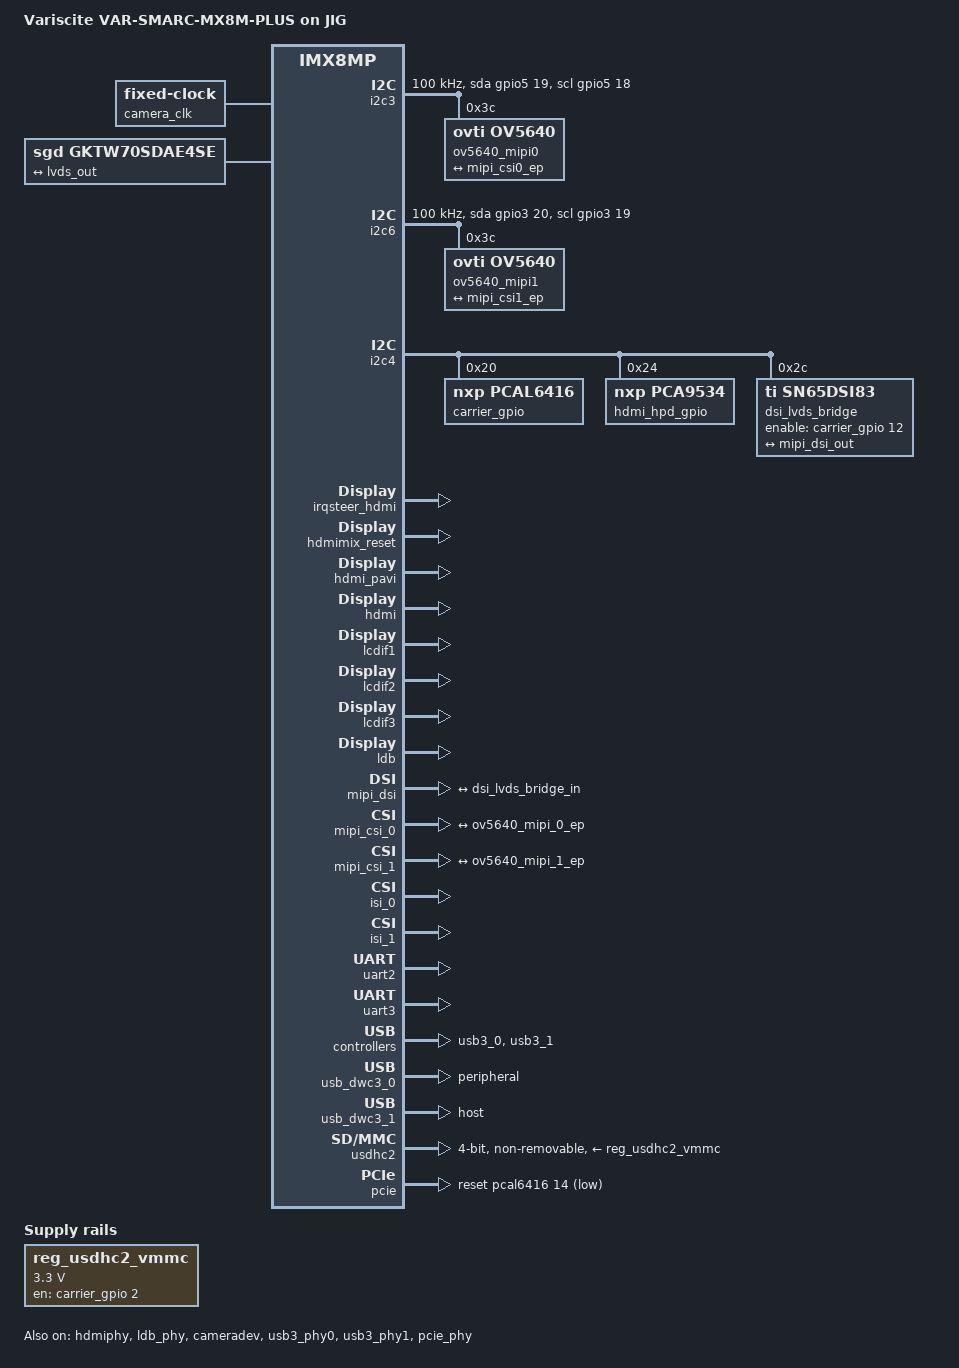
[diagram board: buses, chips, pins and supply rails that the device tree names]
// SPDX-License-Identifier: (GPL-2.0+ OR MIT)
/*
 * Copyright 2019 NXP
 * Copyright 2026 Variscite Ltd.
 */

#include "imx8mp-var-smarc.dtsi"

/ {
	model = "Variscite VAR-SMARC-MX8M-PLUS on JIG";

	chosen {
		stdout-path = &uart2;
	};

	camera_clk: camera-clk {
		compatible = "fixed-clock";
		#clock-cells = <0>;
		clock-frequency = <24000000>;
	};

	reg_usdhc2_vmmc: regulator-usdhc2-vmmc {
		compatible = "regulator-fixed";
		regulator-name = "VSD_3V3";
		regulator-min-microvolt = <3300000>;
		regulator-max-microvolt = <3300000>;
		gpio = <&carrier_gpio 2 GPIO_ACTIVE_HIGH>;
		enable-active-high;
		regulator-always-on;
		regulator-boot-on;
	};

	panel {
		compatible = "sgd,gktw70sdae4se", "panel-lvds";
		width-mm = <153>;
		height-mm = <87>;
		label = "gktw70sdae4se";
		data-mapping = "vesa-24";
		status = "okay";

		panel-timing {
			clock-frequency = <66000000>;
			hactive = <1600>;
			vactive = <480>;
			hback-porch = <80>;
			hfront-porch = <80>;
			vback-porch = <29>;
			vfront-porch = <13>;
			hsync-len = <96>;
			vsync-len = <3>;
			hsync-active = <0>;
			vsync-active = <0>;
			de-active = <1>;
		};

		port {
			panel_in: endpoint {
				remote-endpoint = <&lvds_out>;
			};
		};
	};

	display-subsystem {
		ports = <&lcdif2_disp>,
			<&lcdif1_disp>,
			<&lcdif3_disp>;
	};
};

&iomuxc {
	pinctrl-names = "default";
	pinctrl-0 = <&pinctrl_lvds_rgb_gpio>;

	pinctrl_lvds_rgb_gpio: lvdsrgbgpiogrp {
		fsl,pins = <
			MX8MP_IOMUXC_GPIO1_IO05__GPIO1_IO05				0x116
			MX8MP_IOMUXC_GPIO1_IO14__GPIO1_IO14				0x116
			MX8MP_IOMUXC_GPIO1_IO03__GPIO1_IO03				0x116
			MX8MP_IOMUXC_GPIO1_IO00__GPIO1_IO00				0x116
			MX8MP_IOMUXC_SAI1_RXD0__GPIO4_IO02				0x116
			MX8MP_IOMUXC_GPIO1_IO01__GPIO1_IO01				0x116
			MX8MP_IOMUXC_GPIO1_IO07__GPIO1_IO07				0x116
			MX8MP_IOMUXC_GPIO1_IO06__GPIO1_IO06				0x116
			MX8MP_IOMUXC_SD1_DATA7__GPIO2_IO09				0x116
			MX8MP_IOMUXC_UART1_TXD__GPIO5_IO23				0x116
			MX8MP_IOMUXC_GPIO1_IO11__GPIO1_IO11				0x116
			MX8MP_IOMUXC_SAI2_RXFS__GPIO4_IO21				0x116
			MX8MP_IOMUXC_SD1_DATA6__GPIO2_IO08				0x116
			MX8MP_IOMUXC_UART1_RXD__GPIO5_IO22				0x116
			MX8MP_IOMUXC_UART3_RXD__GPIO5_IO26				0x116
			MX8MP_IOMUXC_UART3_TXD__GPIO5_IO27				0x116
			MX8MP_IOMUXC_SAI1_TXD6__GPIO4_IO18				0x116
			MX8MP_IOMUXC_SAI1_RXFS__GPIO4_IO00				0x116
			MX8MP_IOMUXC_UART4_TXD__GPIO5_IO29				0x116
			MX8MP_IOMUXC_UART4_RXD__GPIO5_IO28				0x116
		>;
	};

	pinctrl_i2c3: i2c3grp {
		fsl,pins = <
			MX8MP_IOMUXC_I2C3_SCL__I2C3_SCL					0x400001c2
			MX8MP_IOMUXC_I2C3_SDA__I2C3_SDA					0x400001c2
		>;
	};

	pinctrl_i2c3_gpio: i2c3gpiogrp {
		fsl,pins = <
			MX8MP_IOMUXC_I2C3_SCL__GPIO5_IO18				0x1c2
			MX8MP_IOMUXC_I2C3_SDA__GPIO5_IO19				0x1c2
		>;
	};

	pinctrl_i2c6: i2c6grp {
		fsl,pins = <
			MX8MP_IOMUXC_SAI5_RXFS__I2C6_SCL				0x400001c2
			MX8MP_IOMUXC_SAI5_RXC__I2C6_SDA					0x400001c2
		>;
	};

	pinctrl_i2c6_gpio: i2c6gpiogrp {
		fsl,pins = <
			MX8MP_IOMUXC_SAI5_RXFS__GPIO3_IO19				0x1c2
			MX8MP_IOMUXC_SAI5_RXC__GPIO3_IO20				0x1c2
		>;
	};

	pinctrl_uart2: uart2grp {
		fsl,pins = <
			MX8MP_IOMUXC_UART2_RXD__UART2_DCE_RX				0x40
			MX8MP_IOMUXC_UART2_TXD__UART2_DCE_TX				0x40
		>;
	};

	pinctrl_usdhc2: usdhc2grp {
		fsl,pins = <
			MX8MP_IOMUXC_SD2_CLK__USDHC2_CLK				0x190
			MX8MP_IOMUXC_SD2_CMD__USDHC2_CMD				0x1d0
			MX8MP_IOMUXC_SD2_DATA0__USDHC2_DATA0				0x1d0
			MX8MP_IOMUXC_SD2_DATA1__USDHC2_DATA1				0x1d0
			MX8MP_IOMUXC_SD2_DATA2__USDHC2_DATA2				0x1d0
			MX8MP_IOMUXC_SD2_DATA3__USDHC2_DATA3				0x1d0
		>;
	};

	pinctrl_usdhc2_100mhz: usdhc2grp-100mhz {
		fsl,pins = <
			MX8MP_IOMUXC_SD2_CLK__USDHC2_CLK				0x194
			MX8MP_IOMUXC_SD2_CMD__USDHC2_CMD				0x1d4
			MX8MP_IOMUXC_SD2_DATA0__USDHC2_DATA0				0x1d4
			MX8MP_IOMUXC_SD2_DATA1__USDHC2_DATA1				0x1d4
			MX8MP_IOMUXC_SD2_DATA2__USDHC2_DATA2				0x1d4
			MX8MP_IOMUXC_SD2_DATA3__USDHC2_DATA3				0x1d4
		>;
	};

	pinctrl_usdhc2_200mhz: usdhc2grp-200mhz {
		fsl,pins = <
			MX8MP_IOMUXC_SD2_CLK__USDHC2_CLK				0x196
			MX8MP_IOMUXC_SD2_CMD__USDHC2_CMD				0x1d6
			MX8MP_IOMUXC_SD2_DATA0__USDHC2_DATA0				0x1d6
			MX8MP_IOMUXC_SD2_DATA1__USDHC2_DATA1				0x1d6
			MX8MP_IOMUXC_SD2_DATA2__USDHC2_DATA2				0x1d6
			MX8MP_IOMUXC_SD2_DATA3__USDHC2_DATA3				0x1d6
		>;
	};
};

&i2c3 {
	clock-frequency = <100000>;
	pinctrl-names = "default", "gpio";
	pinctrl-0 = <&pinctrl_i2c3>;
	pinctrl-1 = <&pinctrl_i2c3_gpio>;
	scl-gpios = <&gpio5 18 GPIO_ACTIVE_HIGH>;
	sda-gpios = <&gpio5 19 GPIO_ACTIVE_HIGH>;
	status = "okay";

	ov5640_mipi0: ov5640_mipi@3c {
		compatible = "ovti,ov5640";
		reg = <0x3c>;
		clocks = <&camera_clk>;
		clock-names = "xclk";
		csi_id = <0>;
		mclk = <24000000>;
		mclk_source = <0>;
		mipi_csi;
		status = "okay";

		port {
			ov5640_mipi_0_ep: endpoint {
				remote-endpoint = <&mipi_csi0_ep>;
				data-lanes = <1 2>;
				clock-lanes = <0>;
			};
		};
	};
};

&i2c6 {
	clock-frequency = <100000>;
	pinctrl-names = "default", "gpio";
	pinctrl-0 = <&pinctrl_i2c6>;
	pinctrl-1 = <&pinctrl_i2c6_gpio>;
	scl-gpios = <&gpio3 19 GPIO_ACTIVE_HIGH>;
	sda-gpios = <&gpio3 20 GPIO_ACTIVE_HIGH>;
	status = "okay";

	ov5640_mipi1: ov5640_mipi@3c {
		compatible = "ovti,ov5640";
		reg = <0x3c>;
		clocks = <&camera_clk>;
		clock-names = "xclk";
		csi_id = <1>;
		mclk = <24000000>;
		mclk_source = <0>;
		mipi_csi;
		status = "okay";

		port {
			ov5640_mipi_1_ep: endpoint {
				remote-endpoint = <&mipi_csi1_ep>;
				data-lanes = <1 2>;
				clock-lanes = <0>;
			};
		};
	};
};

&i2c4 {
	carrier_gpio: gpio@20 {
		compatible = "nxp,pcal6416";
		reg = <0x20>;
		gpio-controller;
		#gpio-cells = <2>;
		gpio-line-names =
			"ETH_TEST_SEL",
			"AUD_TEST_SEL",
			"SD_PWR_EN",
			"USB_HUB1_RSTN",
			"USB_HUB2_RSTN",
			"USB_TEST1_SEL",
			"USB_TEST2_SEL",
			"BTPCM_TEST_SEL",
			"HDMI_2RGB_EN",
			"RGB_LTCH_OE",
			"LVDS_SW2_SEL",
			"LVDS_SW1_SEL",
			"DSI_2LVDS_EN",
			"DSI_SW_SEL",
			"PMIC_STBY_REQ_B",
			"CARRIER_PWR_ON";
		status = "okay";
	};

	hdmi_hpd_gpio: gpio@24 {
		compatible = "nxp,pca9534";
		reg = <0x24>;
		gpio-controller;
		#gpio-cells = <2>;
		gpio-line-names = "", "", "", "", "", "", "", "HDMI_HPD";
		status = "okay";
	};

	dsi_lvds_bridge: sn65dsi84@2c {
		compatible = "ti,sn65dsi83";
		reg = <0x2c>;
		ti,dsi-lanes = <4>;
		ti,lvds-format = <1>;
		ti,lvds-bpp = <24>;
		ti,lvds-channels = <1>;
		ti,width-mm = <154>;
		ti,height-mm = <87>;
		enable-gpios = <&carrier_gpio 12 GPIO_ACTIVE_HIGH>;
		status = "okay";

		display-timings {
			lvds {
				clock-frequency = <33000000>;
				hactive = <800>;
				vactive = <480>;
				hback-porch = <40>;
				hfront-porch = <40>;
				vback-porch = <29>;
				vfront-porch = <13>;
				hsync-len = <48>;
				vsync-len = <3>;
				hsync-active = <0>;
				vsync-active = <0>;
				de-active = <1>;
				pixelclk-active = <0>;
			};
		};

		port {
			dsi_lvds_bridge_in: endpoint {
				remote-endpoint = <&mipi_dsi_out>;
			};
		};
	};
};

&irqsteer_hdmi {
	status = "okay";
};

&hdmimix_clk {
	status = "okay";
};

&hdmimix_reset {
	status = "okay";
};

&hdmi_pavi {
	status = "okay";
};

&hdmi {
	status = "okay";
};

&hdmiphy {
	status = "okay";
};

/* MIPI-DSI */
&lcdif1 {
	status = "okay";
};

/* LVDS */
&lcdif2 {
	status = "okay";
};

/* HDMI */
&lcdif3 {
	status = "okay";
};

&ldb {
	status = "okay";
	fsl,dual-channel;

	lvds-channel@0 {
		fsl,data-mapping = "spwg";
		fsl,data-width = <24>;
		status = "okay";

		port@1 {
			reg = <1>;

			lvds_out: endpoint {
				remote-endpoint = <&panel_in>;
			};
		};
	};
};

&ldb_phy {
	status = "okay";
};

&mipi_dsi {
	status = "okay";

	port@1 {
		reg = <1>;

		mipi_dsi_out: endpoint {
			remote-endpoint = <&dsi_lvds_bridge_in>;
			attach-bridge;
		};
	};
};

&mipi_csi_0 {
	#address-cells = <1>;
	#size-cells = <0>;
	status = "okay";

	port@0 {
		reg = <0>;

		mipi_csi0_ep: endpoint {
			remote-endpoint = <&ov5640_mipi_0_ep>;
			data-lanes = <2>;
			csis-hs-settle = <13>;
			csis-clk-settle = <2>;
			csis-wclk;
		};
	};
};

&mipi_csi_1 {
	#address-cells = <1>;
	#size-cells = <0>;
	status = "okay";

	port@1 {
		reg = <1>;

		mipi_csi1_ep: endpoint {
			remote-endpoint = <&ov5640_mipi_1_ep>;
			data-lanes = <2>;
			csis-hs-settle = <13>;
			csis-clk-settle = <2>;
			csis-wclk;
		};
	};
};

&cameradev {
	status = "okay";
};

&isi_0 {
	status = "okay";

	cap_device {
		status = "okay";
	};
};

&isi_1 {
	status = "okay";

	cap_device {
		status = "okay";
	};
};

&snvs_pwrkey {
	status = "disabled";
};

&uart2 {
	pinctrl-names = "default";
	pinctrl-0 = <&pinctrl_uart2>;
	status = "okay";
};

&uart3 {
	status = "okay";
};

&usb3_phy0 {
	status = "okay";
};

&usb3_0 {
	status = "okay";
};

&usb_dwc3_0 {
	dr_mode = "peripheral";
	hnp-disable;
	srp-disable;
	adp-disable;
	status = "okay";
};

&usb3_phy1 {
	status = "okay";
};

&usb3_1 {
	status = "okay";
};

&usb_dwc3_1 {
	dr_mode = "host";
	status = "okay";
};

&usdhc2 {
	pinctrl-names = "default", "state_100mhz", "state_200mhz";
	pinctrl-0 = <&pinctrl_usdhc2>;
	pinctrl-1 = <&pinctrl_usdhc2_100mhz>;
	pinctrl-2 = <&pinctrl_usdhc2_200mhz>;
	non-removable;
	vmmc-supply = <&reg_usdhc2_vmmc>;
	bus-width = <4>;
	no-1-8-v;
	status = "okay";
};

&pcie {
	reset-gpio = <&pcal6416 14 GPIO_ACTIVE_LOW>;
	ext_osc = <1>;
	clocks = <&clk IMX8MP_CLK_HSIO_AXI_DIV>,
		 <&clk IMX8MP_CLK_PCIE_AUX>,
		 <&clk IMX8MP_CLK_PCIE_PHY>,
		 <&clk IMX8MP_CLK_PCIE_ROOT>;
	clock-names = "pcie", "pcie_aux", "pcie_phy", "pcie_bus";
	assigned-clocks = <&clk IMX8MP_CLK_HSIO_AXI_SRC>,
			  <&clk IMX8MP_CLK_PCIE_AUX>;
	assigned-clock-parents = <&clk IMX8MP_SYS_PLL2_500M>,
				 <&clk IMX8MP_SYS_PLL2_50M>;
	status = "okay";
};

&pcie_phy {
	ext_osc = <1>;
	status = "okay";
};

&wdog1 {
	status = "disabled";
};
